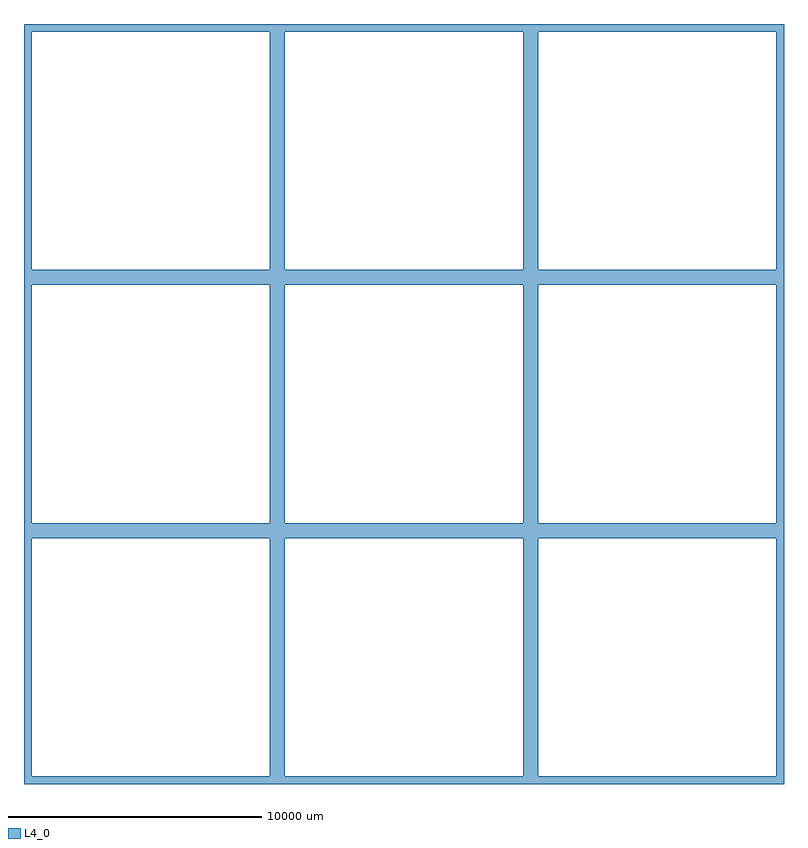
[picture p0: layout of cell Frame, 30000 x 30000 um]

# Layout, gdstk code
import gdstk
lib = gdstk.Library(unit=1e-6, precision=1e-09)
def R(c, l, rs):  # rectangles x0, y0, x1, y1
    for r in rs: c.add(gdstk.rectangle(r[:2], r[2:], *l))
L4_0 = (4, 0)

frame_box = lib.new_cell('Frame_box')
R(frame_box, L4_0, [(0,0,300,10000), (0,0,10000,300), (9700,0,10000,10000), (0,9700,10000,10000)])

frame = lib.new_cell('Frame')
r = gdstk.Reference(frame_box, (0,0)); r.repetition = gdstk.Repetition(3, 3, v1=(10000,0), v2=(0,10000)); frame.add(r)

lib.write_gds('Frame.gds')
